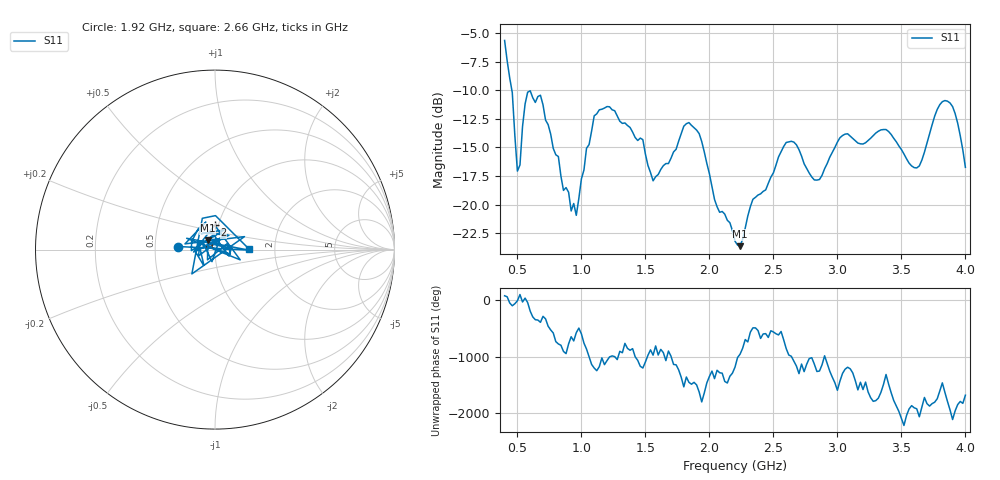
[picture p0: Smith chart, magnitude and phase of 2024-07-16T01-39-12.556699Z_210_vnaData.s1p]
!Created with skrf (http://scikit-rf.org).
# Hz S RI R 50.0
!freq ReS11 ImS11
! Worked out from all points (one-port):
!   181 points, 400 MHz to 4 GHz, reference 50 ohm
!   lowest |S11| = -23.6 dB at 2.24 GHz (marker M1), VSWR 1.14, Z = 45.9 + j4.79 ohm
!   |S11| at or under -10 dB: 456.9 MHz to end of sweep
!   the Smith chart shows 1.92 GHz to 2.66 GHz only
!   S11 on the Smith chart (normalised r, x): 1.92 GHz: 0.66, +0.02; 2 GHz: 0.96, +0.27; 2.66 GHz: 1.46, +0.02
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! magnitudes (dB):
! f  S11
! 400 MHz  -5.6
! 460 MHz  -10.2
! 500 MHz  -17.1
! 520 MHz  -16.5
! 560 MHz  -11.2
! 600 MHz  -10.0
! 680 MHz  -10.4
! 860 MHz  -18.8
! 960 MHz  -20.9
! 1.1 GHz  -12.2
! 1.3 GHz  -12.7
! 1.48 GHz  -14.3
! 1.56 GHz  -17.9
! 1.76 GHz  -14.4
! 1.92 GHz  -13.8
! 2 GHz  -17.3
! 2.2 GHz  -23.2
! 2.24 GHz  -23.6
! 2.34 GHz  -19.5
! 2.66 GHz  -14.5
! 2.84 GHz  -17.9
! 3.1 GHz  -14.0
! 3.38 GHz  -13.4
! 3.56 GHz  -16.4
! 3.64 GHz  -16.6
! 3.84 GHz  -10.9
! 3.92 GHz  -12.0
! 4 GHz  -16.7
